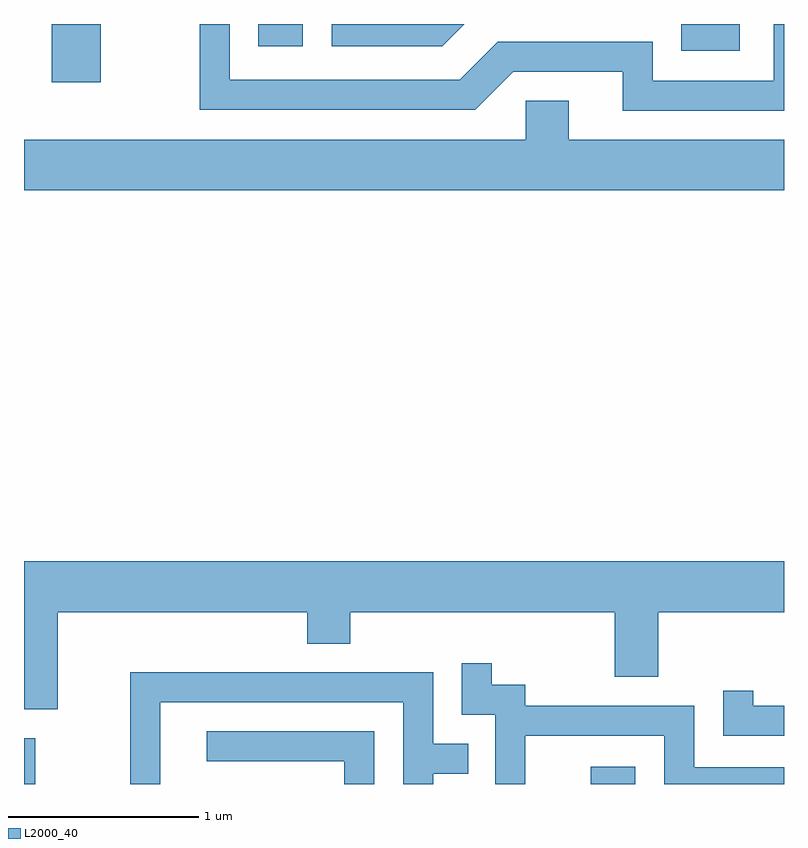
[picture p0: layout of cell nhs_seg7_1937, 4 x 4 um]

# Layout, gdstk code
import gdstk
lib = gdstk.Library(unit=1e-6, precision=1e-09)
def R(c, l, rs):  # rectangles x0, y0, x1, y1
    for r in rs: c.add(gdstk.rectangle(r[:2], r[2:], *l))
def P(c, l, *ps):  # polygons
    for p in ps: c.add(gdstk.Polygon(p, *l))
L2000_40 = (2000, 40)

nhs_seg7_1937 = lib.new_cell('nhs_seg7_1937')
R(nhs_seg7_1937, L2000_40, [(243.611,1762.252,243.669,1762.494), (246.593,1762.252,246.829,1762.344), (243.756,1765.946,244.014,1766.252), (247.071,1766.111,247.379,1766.252), (244.843,1766.136,245.079,1766.252)])
P(nhs_seg7_1937, L2000_40, [(245.928,1766.252),(245.231,1766.252),(245.231,1766.136),(245.812,1766.136)],
  [(247.611,1766.252),(247.556,1766.252),(247.556,1765.954),(246.919,1765.954),(246.919,1766.159),(246.104,1766.159),(245.904,1765.959),(244.694,1765.959),(244.694,1766.252),(244.536,1766.252),(244.536,1765.801),(245.987,1765.801),(246.187,1766.001),(246.761,1766.001),(246.761,1765.796),(247.611,1765.796)],
  [(247.611,1765.644),(246.479,1765.644),(246.479,1765.849),(246.251,1765.849),(246.251,1765.644),(243.611,1765.644),(243.611,1765.376),(247.611,1765.376)],
  [(243.789,1763.156),(245.101,1763.156),(245.101,1762.991),(245.329,1762.991),(245.329,1763.156),(246.721,1763.156),(246.721,1762.816),(246.949,1762.816),(246.949,1763.156),(247.611,1763.156),(247.611,1763.424),(243.611,1763.424),(243.611,1762.646),(243.789,1762.646)],
  [(246.249,1762.506),(246.981,1762.506),(246.981,1762.252),(247.611,1762.252),(247.611,1762.339),(247.139,1762.339),(247.139,1762.664),(246.249,1762.664),(246.249,1762.774),(246.074,1762.774),(246.074,1762.888),(245.916,1762.888),(245.916,1762.616),(246.091,1762.616),(246.091,1762.252),(246.249,1762.252)],
  [(244.329,1762.681),(245.606,1762.681),(245.606,1762.252),(245.764,1762.252),(245.764,1762.306),(245.948,1762.306),(245.948,1762.464),(245.764,1762.464),(245.764,1762.839),(244.171,1762.839),(244.171,1762.252),(244.329,1762.252)],
  [(247.611,1762.664),(247.449,1762.664),(247.449,1762.743),(247.291,1762.743),(247.291,1762.506),(247.611,1762.506)],
  [(245.454,1762.529),(244.573,1762.529),(244.573,1762.371),(245.296,1762.371),(245.296,1762.252),(245.454,1762.252)])

lib.write_gds('nhs_seg7_1937.gds')
